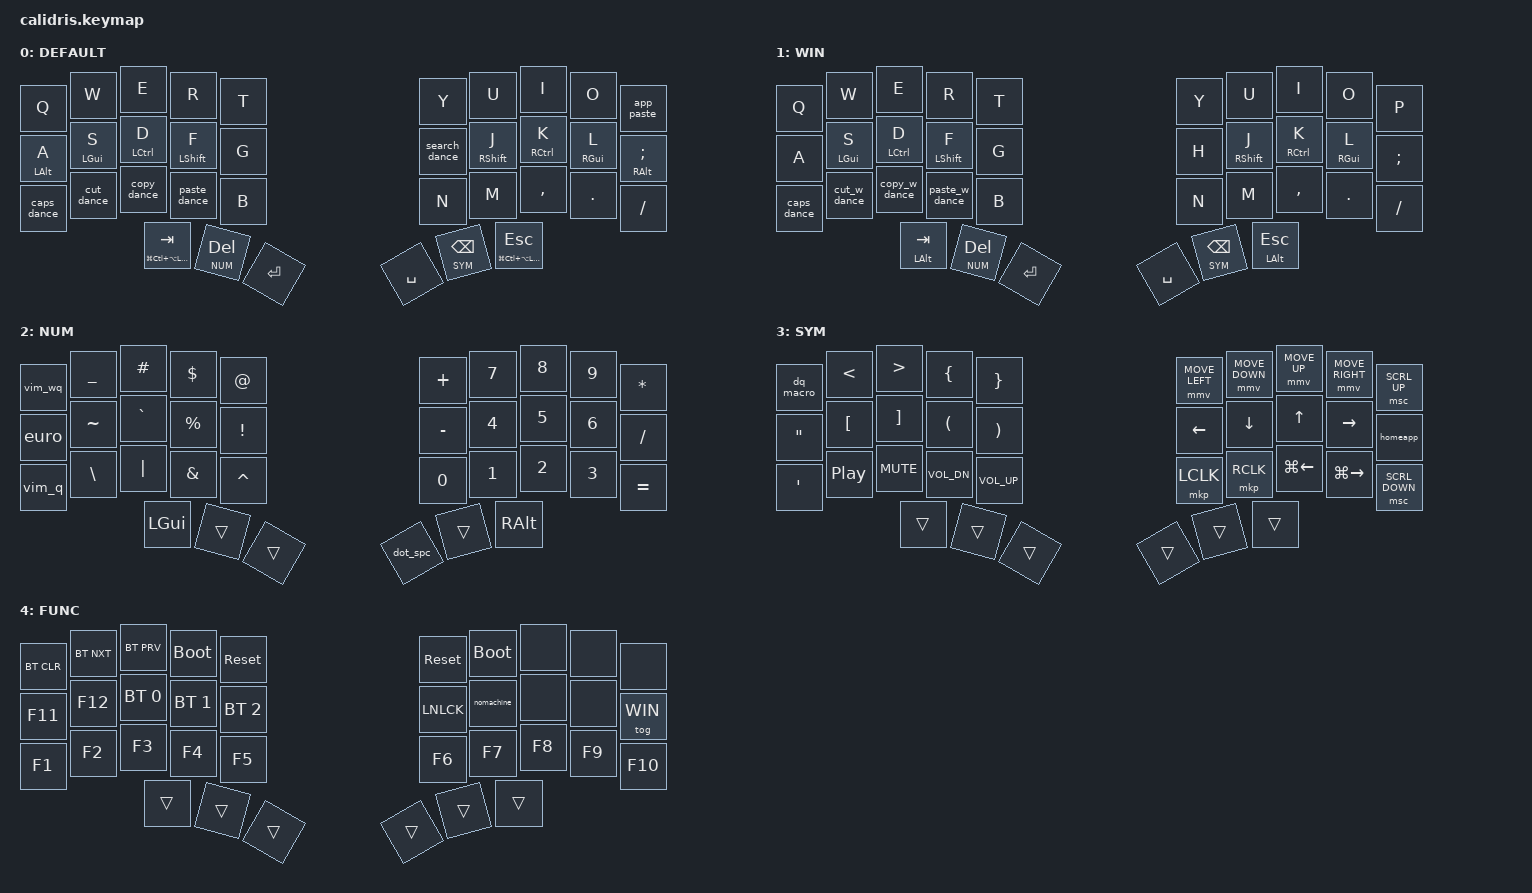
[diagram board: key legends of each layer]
/*
 * Copyright (c) 2020 The ZMK Contributors
 *
 * SPDX-License-Identifier: MIT
 */

// keymap from temper

#include <behaviors.dtsi>
#include <dt-bindings/zmk/keys.h>
#include <dt-bindings/zmk/bt.h>
#include <dt-bindings/zmk/outputs.h>
#include <dt-bindings/zmk/ext_power.h>
#include <dt-bindings/zmk/pointing.h>
#include <dt-bindings/zmk/reset.h>

#define DEFAULT 0
#define WIN 1
#define NUM 2
#define SYM 3
#define FUNC 4


#define ______ &trans

&mt {
  tapping-term-ms = <200>;
  flavor = "tap-preferred";
};

/ {
    conditional_layers {
        compatible = "zmk,conditional-layers";
        tri_layer {
            if-layers = <NUM SYM>;
            then-layer = <FUNC>;
        };
    };
    behaviors {

        // Home row mods
        hm: homerow_mods {
            compatible = "zmk,behavior-hold-tap";
            #binding-cells = <2>;
            tapping-term-ms = <200>;
            quick-tap-ms = <0>;
            flavor = "tap-preferred";
            bindings = <&kp>, <&kp>;
        };
        // Tap dance single tap = C double tap = gui+c
        copy_dance: tapdance_copy {
            compatible = "zmk,behavior-tap-dance";
            #binding-cells = <0>;
            tapping-term-ms = <180>;
            bindings = <&kp C>, <&kp LG(C)>;
        };
        copy_w_dance: tapdancew_copy {
            compatible = "zmk,behavior-tap-dance";
            #binding-cells = <0>;
            tapping-term-ms = <180>;
            bindings = <&kp C>, <&kp LC(C)>;
        };
        // Tap dance single tap = V double tap = gui+v
        paste_dance: tabdance_paste {
            compatible = "zmk,behavior-tap-dance";
            #binding-cells = <0>;
            tapping-term-ms = <180>;
            bindings = <&kp V>, <&kp LG(V)>;
        };
        paste_w_dance: tabdancew_paste {
            compatible = "zmk,behavior-tap-dance";
            #binding-cells = <0>;
            tapping-term-ms = <180>;
            bindings = <&kp V>, <&kp LC(V)>;
        };
        // Tap dance single tap = . double tap = SPACE
        dot_spc: dot_space {
            compatible = "zmk,behavior-tap-dance";
            #binding-cells = <0>;
            tapping-term-ms = <200>;
            bindings = <&kp DOT>, <&kp SPACE>;
        };
        // Tap dance single tap = Z double tap = CAPS LOCK
        caps_dance: tapdance_caps {
            compatible = "zmk,behavior-tap-dance";
            #binding-cells = <0>;
            tapping-term-ms = <280>;
            bindings = <&kp Z>, <&kp CAPS>;
        };
        // Tap dance single tap = X double tap = gui+x
        cut_dance: tapdance_cut {
            compatible = "zmk,behavior-tap-dance";
            #binding-cells = <0>;
            tapping-term-ms = <180>;
            bindings = <&kp X>, <&kp LG(X)>;
        };
        cut_w_dance: tapdancew_cut {
            compatible = "zmk,behavior-tap-dance";
            #binding-cells = <0>;
            tapping-term-ms = <180>;
            bindings = <&kp X>, <&kp LC(X)>;
        };
        // Tap dance single tap = P double tap = gui+shift+v
        app_paste: app_paste {
            compatible = "zmk,behavior-tap-dance";
            #binding-cells = <0>;
            tapping-term-ms = <180>;
            bindings = <&kp P>, <&kp LG(LS(V))>;
        };
        // Tap dance single tap = H double tap = Raycast seach (CMD + space)
        search_dance: tapdance_search {
            compatible = "zmk,behavior-tap-dance";
            #binding-cells = <0>;
            tapping-term-ms = <180>;
            bindings = <&kp H>, <&kp LG(SPACE)>;
        };
        // Enable hyper key when tapped
        tp: tap-preferred {
            compatible = "zmk,behavior-hold-tap";
            #binding-cells = <2>;
            tapping-term-ms = <150>;
            quick-tap-ms = <0>;
            flavor = "tap-preferred";
            bindings = <&kp>, <&kp>;
        };
    };

    /*                KEY POSITIONS
     ╭────────────────────╮ ╭────────────────────╮
     │  0   1   2   3   4 │ │  5   6   7   8   9 │
     │ 10  11  12  13  14 │ │ 15  16  17  18  19 │
     │ 20  21  22  23  24 │ │ 25  26  27  28  29 │
     ╰───────╮ 30  31  32 │ │ 33  34  35╭────────╯
             ╰────────────╯ ╰───────────╯            */

    combos {
        compatible = "zmk,combos";
        // Combo to type < > and move cursor left
        lt_gt_combo {
            timeout-ms = <50>;
            key-positions = <1 2>;
            layers = <SYM>;
            bindings = <&lt_gt_macro>;
         };
        // Combo to type { } and move cursor left
        lb_rb_combo {
            timeout-ms = <50>;
            key-positions = <3 4>;
            layers = <SYM>;
            bindings = <&lb_rb_macro>;
        };
        // Combo to type ( ) and move cursor left
        lp_rp_combo {
            timeout-ms = <50>;
            key-positions = <13 14>;
            layers = <SYM>;
            bindings = <&lp_rp_macro>;
        };
        // Combo to type [ ] and move cursor left
        ls_rs_combo {
            timeout-ms = <50>;
            key-positions = <11 12>;
            layers = <SYM>;
            bindings = <&ls_rs_macro>;
        };
        // Combo to press the middle mouse button
        mmb_combo {
            timeout-ms = <50>;
            key-positions = <25 26>;
            layers = <SYM>;
            bindings = <&mkp MCLK>;
        };
        // Combo to go Next
        next_combo {
            timeout-ms = <50>;
            key-positions = <23 24>;
            layers = <SYM>;
            bindings = <&kp C_NEXT>;
        };
        // Combo to go Previous
        prev_combo {
            timeout-ms = <50>;
            key-positions = <21 22>;
            layers = <SYM>;
            bindings = <&kp C_PREV>;
        };
     };

    macros {
        // Macro to exit vim: ESC : W Q
        vim_wq: vim_quit {
            compatible = "zmk,behavior-macro";
            #binding-cells = <0>;
            bindings = <&macro_tap &kp ESC &kp COLON &kp W &kp Q &kp ENTER>;
        };
        // Macro to exit vim: ESC : Q !
        vim_q: vim_quit_force {
            compatible = "zmk,behavior-macro";
            #binding-cells = <0>;
            bindings = <&macro_tap &kp ESC &kp COLON &kp Q &kp EXCL &kp ENTER>;
        };
        // Macro to type < > and move cursor left
        lt_gt_macro: lt_gt_macro_with_cursor {
            compatible = "zmk,behavior-macro";
            #binding-cells = <0>;
            bindings = <&macro_tap &kp LT &kp GT &kp LEFT>;
        };
        // Macro to type { } and move cursor left
        lb_rb_macro: lb_rb_macro_with_cursor {
            compatible = "zmk,behavior-macro";
            #binding-cells = <0>;
            bindings = <&macro_tap &kp LBRC &kp RBRC &kp LEFT>;
        };
        // Macro to type ( ) and move cursor left
        lp_rp_macro: lp_rp_macro_with_cursor {
            compatible = "zmk,behavior-macro";
            #binding-cells = <0>;
            bindings = <&macro_tap &kp LPAR &kp RPAR &kp LEFT>;
        };
        // Macro to type [ ] and move cursor left
        ls_rs_macro: ls_rs_macro_with_cursor {
            compatible = "zmk,behavior-macro";
            #binding-cells = <0>;
            bindings = <&macro_tap &kp LBKT &kp RBKT &kp LEFT>;
        };
        // Macro to open homerow app (LGUI+LCTRL+LSHFT) 
        homeapp: homeapp {
            compatible = "zmk,behavior-macro";
            #binding-cells = <0>;
            bindings = <&macro_press &kp LGUI &kp LCTRL &kp LSHFT>,
                        <&macro_release &kp LSHFT &kp LCTRL &kp LGUI>;
        };
        // Macro to type "" and move cursor left
        dq_macro: dq_macro_with_cursor {
            compatible = "zmk,behavior-macro";
            #binding-cells = <0>;
            bindings = <&macro_tap &kp DQT &kp DQT &kp LEFT>;
        };
        nomachine: nomachine_settings {
            compatible = "zmk,behavior-macro";
            #binding-cells = <0>;
            bindings = <&macro_press &kp RCTRL &kp RALT &kp N0>,
                       <&macro_release &kp N0 &kp RALT &kp RCTRL>;
        };
        // Macro to type euro marke
        euro: euro_settings {
          compatible = "zmk,behavior-macro";
          #binding-cells = <0>;
          bindings = <&macro_press &kp RSHFT &kp RALT &kp N2>,
                     <&macro_release &kp N2 &kp RALT &kp RSHFT>;

        };
    };

    keymap {
        compatible = "zmk,keymap";

        default_layer {
            label = "DEFAULT";
            bindings = <
// ╭─────────────┬─────────────┬─────────────┬─────────────┬─────────────╮   ╭─────────────┬─────────────┬─────────────┬─────────────┬─────────────╮
        &kp Q       &kp W         &kp E          &kp R          &kp T             &kp Y         &kp U         &kp I         &kp O       &app_paste
// ├─────────────┼─────────────┼─────────────┼─────────────┼─────────────┤   ├─────────────┼─────────────┼─────────────┼─────────────┼─────────────┤
     &hm LALT A     &hm LGUI S   &hm LCTRL D     &hm LSHFT F    &kp G         &search_dance     &hm RSHFT J   &hm RCTRL K   &hm RGUI L  &hm RALT SEMI
// ├─────────────┼─────────────┼─────────────┼─────────────┼─────────────┤   ├─────────────┼─────────────┼─────────────┼─────────────┼─────────────┤
    &caps_dance    &cut_dance      &copy_dance    &paste_dance    &kp B           &kp N         &kp M         &kp COMMA     &kp DOT       &kp FSLH
// ╰─────────────┴─────────────┼─────────────┼─────────────┼─────────────┤   ├─────────────┼─────────────┼─────────────┼─────────────┴─────────────╯
                    &tp LG(LC(LA(LSHFT))) TAB  &lt NUM DEL    &kp ENTER          &kp SPACE   &lt SYM BSPC  &tp LG(LC(LA(LSHFT))) ESC
//                             ╰─────────────┴─────────────┴─────────────╯   ╰─────────────┴─────────────┴─────────────╯
            >;
        };
        windows_layer {
            label = "WIN";
            bindings = <
// ╭─────────────┬─────────────┬─────────────┬─────────────┬─────────────╮   ╭─────────────┬─────────────┬─────────────┬─────────────┬─────────────╮
        &kp Q       &kp W         &kp E          &kp R          &kp T             &kp Y         &kp U         &kp I         &kp O        &kp P
// ├─────────────┼─────────────┼─────────────┼─────────────┼─────────────┤   ├─────────────┼─────────────┼─────────────┼─────────────┼─────────────┤
        &kp A       &hm LGUI S   &hm LCTRL D     &hm LSHFT F    &kp G           &kp H         &hm RSHFT J   &hm RCTRL K   &hm RGUI L   &kp SEMI
// ├─────────────┼─────────────┼─────────────┼─────────────┼─────────────┤   ├─────────────┼─────────────┼─────────────┼─────────────┼─────────────┤
    &caps_dance    &cut_w_dance  &copy_w_dance &paste_w_dance    &kp B           &kp N         &kp M         &kp COMMA     &kp DOT        &kp FSLH
// ╰─────────────┴─────────────┼─────────────┼─────────────┼─────────────┤   ├─────────────┼─────────────┼─────────────┼─────────────┴─────────────╯
                              &tp LALT TAB  &lt NUM DEL     &kp ENTER       &kp SPACE     &lt SYM BSPC   &tp LALT ESC
//                             ╰─────────────┴─────────────┴─────────────╯   ╰─────────────┴─────────────┴─────────────╯
            >;
        };
        num_layer {
            label = "NUM";
            bindings = <
// ╭─────────────┬─────────────┬─────────────┬─────────────┬─────────────╮   ╭─────────────┬─────────────┬─────────────┬─────────────┬─────────────╮
       &vim_wq     &kp UNDER     &kp HASH      &kp DLLR     &kp AT            &kp PLUS       &kp N7        &kp N8       &kp N9       &kp STAR
// ├─────────────┼─────────────┼─────────────┼─────────────┼─────────────┤   ├─────────────┼─────────────┼─────────────┼─────────────┼─────────────┤
       &euro       &kp TILDE     &kp GRAVE     &kp PRCNT    &kp EXCL          &kp MINUS      &kp N4        &kp N5       &kp N6       &kp SLASH
// ├─────────────┼─────────────┼─────────────┼─────────────┼─────────────┤   ├─────────────┼─────────────┼─────────────┼─────────────┼─────────────┤
       &vim_q        &kp BSLH      &kp PIPE      &kp AMPS     &kp CARET         &kp N0         &kp N1        &kp N2       &kp N3       &kp EQUAL
// ╰─────────────┴─────────────┼─────────────┼─────────────┼─────────────┤   ├─────────────┼─────────────┼─────────────┼─────────────┴─────────────╯
                                  &kp LGUI      ______         ______          &dot_spc       ______       &kp RALT
//                             ╰─────────────┴─────────────┴─────────────╯   ╰─────────────┴─────────────┴─────────────╯
            >;
        };
        sym_layer {
            label = "SYM";
            bindings = <
// ╭─────────────┬─────────────┬─────────────┬─────────────┬─────────────╮   ╭─────────────┬─────────────┬─────────────┬─────────────┬─────────────╮
      &dq_macro      &kp LT       &kp GT         &kp LBRC      &kp RBRC        &mmv MOVE_LEFT  &mmv MOVE_DOWN &mmv MOVE_UP  &mmv MOVE_RIGHT  &msc SCRL_UP
// ├─────────────┼─────────────┼─────────────┼─────────────┼─────────────┤   ├─────────────┼─────────────┼─────────────┼─────────────┼─────────────┤
      &kp DQT      &kp LBKT     &kp RBKT       &kp LPAR      &kp RPAR          &kp LEFT        &kp DOWN     &kp UP       &kp RIGHT     &homeapp
// ├─────────────┼─────────────┼─────────────┼─────────────┼─────────────┤   ├─────────────┼─────────────┼─────────────┼─────────────┼─────────────┤
      &kp SQT     &kp C_PP     &kp C_MUTE  &kp C_VOL_DN   &kp C_VOL_UP         &mkp LCLK      &mkp RCLK     &kp LG(LEFT)  &kp LG(RIGHT)  &msc SCRL_DOWN
// ╰─────────────┴─────────────┼─────────────┼─────────────┼─────────────┤   ├─────────────┼─────────────┼─────────────┼─────────────┴─────────────╯
                                   ______       ______        ______             ______        ______        ______
//                             ╰─────────────┴─────────────┴─────────────╯   ╰─────────────┴─────────────┴─────────────╯
            >;
        };
        func_layer {
            label = "FUNC";
            bindings = <
// ╭─────────────┬─────────────┬─────────────┬─────────────┬─────────────╮   ╭─────────────┬─────────────┬─────────────┬─────────────┬─────────────╮
     &bt BT_CLR    &bt BT_NXT    &bt BT_PRV    &bootloader   &sys_reset       &sys_reset    &bootloader    &none         &none         &none
// ├─────────────┼─────────────┼─────────────┼─────────────┼─────────────┤   ├─────────────┼─────────────┼─────────────┼─────────────┼─────────────┤
       &kp F11       &kp F12    &bt BT_SEL 0   &bt BT_SEL 1  &bt BT_SEL 2       &kp LNLCK     &nomachine    &none         &none         &tog WIN
// ├─────────────┼─────────────┼─────────────┼─────────────┼─────────────┤   ├─────────────┼─────────────┼─────────────┼─────────────┼─────────────┤
       &kp F1        &kp F2        &kp F3        &kp F4        &kp F5           &kp F6         &kp F7       &kp F8        &kp F9         &kp F10
// ╰─────────────┴─────────────┼─────────────┼─────────────┼─────────────┤   ├─────────────┼─────────────┼─────────────┼─────────────┴─────────────╯
                                   ______        ______        ______            ______        ______        ______
//                             ╰─────────────┴─────────────┴─────────────╯   ╰─────────────┴─────────────┴─────────────╯
            >;
        };
    };
};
